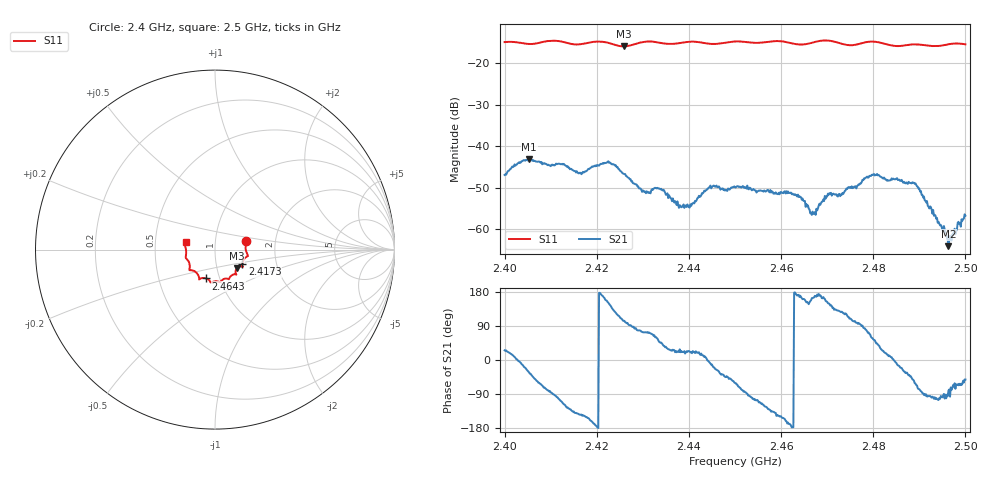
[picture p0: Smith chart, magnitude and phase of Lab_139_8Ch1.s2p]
# Hz S RI R 50
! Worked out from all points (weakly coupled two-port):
!   601 points, 2.4 GHz to 2.5 GHz, reference 50 ohm
!   highest |S21| = -43.07 dB at 2.4053 GHz (marker M1); lowest = -64.0 dB at 2.4963 GHz (marker M2)
!   lowest |S11| = -15.9 dB at 2.4258 GHz (marker M3), VSWR 1.38, Z = 62.3 - j13.2 ohm
!   |S11| at or under -10 dB: start of sweep to end of sweep
!   S12 and S22 are empty: the file has one direction only
!   S11 on the Smith chart (normalised r, x): 2.4 GHz: 1.41, +0.14; 2.4173 GHz: 1.34, -0.23; 2.4643 GHz: 0.86, -0.28; 2.5 GHz: 0.72, +0.06
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2.4e9  0.1733 0.0486  0.00409 0.00195  0 0  0 0
2.405333e9  0.1705 0.0101  0.00588 -0.00383  0 0  0 0
2.4125e9  0.1776 -0.0389  -0.00227 -0.00572  0 0  0 0
2.416667e9  0.1531 -0.0747  -0.00374 -0.00272  0 0  0 0
2.417333e9  0.1521 -0.0822  -0.00413 -0.00264  0 0  0 0
2.4225e9  0.1489 -0.0947  -0.0058 0.00319  0 0  0 0
2.425833e9  0.1218 -0.1034  -0.00108 0.00455  0 0  0 0
2.430167e9  0.1178 -0.1373  0.000849 0.00278  0 0  0 0
2.433333e9  0.113 -0.1375  0.0019 0.00246  0 0  0 0
2.438667e9  0.0805 -0.1581  0.00176 0.000686  0 0  0 0
2.4405e9  0.0781 -0.1645  0.00179 0.000699  0 0  0 0
2.444833e9  0.0569 -0.1614  0.00305 -0.000666  0 0  0 0
2.45e9  0.029 -0.1809  0.00158 -0.0028  0 0  0 0
2.464333e9  -0.0498 -0.1607  -0.00237 0.000575  0 0  0 0
2.466667e9  -0.0761 -0.1593  -0.00143 0.000437  0 0  0 0
2.470333e9  -0.088 -0.1652  -0.00225 0.00134  0 0  0 0
2.472667e9  -0.0899 -0.1502  -0.00168 0.00209  0 0  0 0
2.479667e9  -0.1428 -0.114  0.00237 0.00389  0 0  0 0
2.483333e9  -0.1407 -0.0901  0.00381 0.000678  0 0  0 0
2.489167e9  -0.1628 -0.0444  0.00166 -0.00318  0 0  0 0
2.496333e9  -0.168 0.0223  0.000103 -0.000621  0 0  0 0
2.5e9  -0.1637 0.0427  0.000911 -0.00115  0 0  0 0
